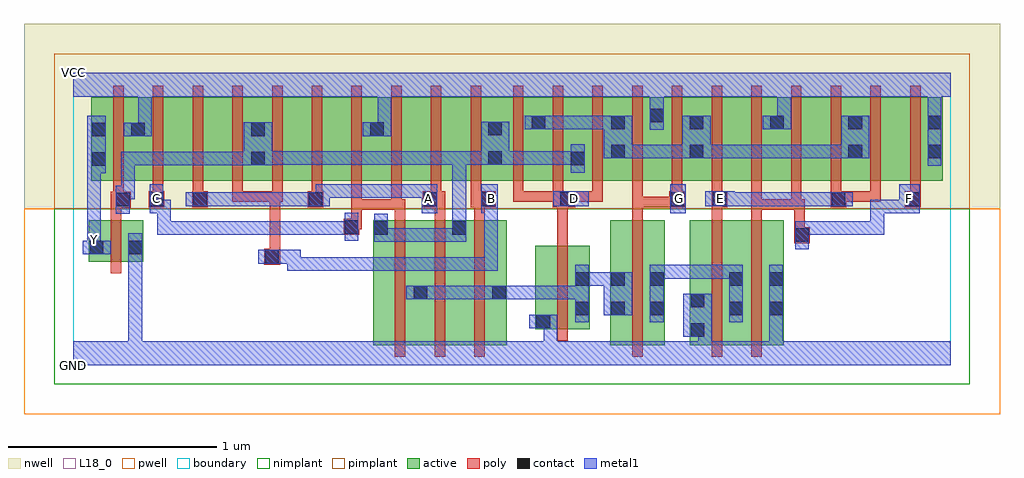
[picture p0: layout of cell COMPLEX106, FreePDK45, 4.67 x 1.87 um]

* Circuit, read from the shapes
.subckt COMPLEX106 A B C D E F G GND VCC Y
M1 GND n1 Y VSUBS nfet w=0.2u l=0.05u
M2 n2 C n1 VSUBS nfet w=0.6u l=0.05u
M3 n1 A n2 VSUBS nfet w=0.6u l=0.05u
M4 n2 B n1 VSUBS nfet w=0.6u l=0.05u
M5 n2 D GND VSUBS nfet w=0.4u l=0.05u
M6 n3 G n2 VSUBS nfet w=0.6u l=0.05u
M7 n3 E GND VSUBS nfet w=0.6u l=0.05u
M8 GND F n3 VSUBS nfet w=0.6u l=0.05u
M9 VCC n1 Y n4 pfet w=0.4u l=0.05u
M10 n5 C VCC n4 pfet w=0.4u l=0.05u
M11 n6 A n5 n4 pfet w=0.4u l=0.05u
M12 n1 B n6 n4 pfet w=0.4u l=0.05u
M13 n7 B n1 n4 pfet w=0.4u l=0.05u
M14 n8 A n7 n4 pfet w=0.4u l=0.05u
M15 VCC C n8 n4 pfet w=0.4u l=0.05u
M16 n9 C VCC n4 pfet w=0.4u l=0.05u
M17 n10 A n9 n4 pfet w=0.4u l=0.05u
M18 n1 B n10 n4 pfet w=0.4u l=0.05u
M19 n11 D n1 n4 pfet w=0.4u l=0.05u m=3
M20 VCC G n11 n4 pfet w=0.4u l=0.05u m=2
M21 n12 E n11 n4 pfet w=0.4u l=0.05u
M22 VCC F n12 n4 pfet w=0.4u l=0.05u
M23 n13 F VCC n4 pfet w=0.4u l=0.05u
M24 n11 E n13 n4 pfet w=0.4u l=0.05u
M25 n14 E n11 n4 pfet w=0.4u l=0.05u
M26 VCC F n14 n4 pfet w=0.4u l=0.05u
.ends

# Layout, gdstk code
import gdstk
lib = gdstk.Library(unit=1e-6, precision=1e-09)
def R(c, l, rs):  # rectangles x0, y0, x1, y1
    for r in rs: c.add(gdstk.rectangle(r[:2], r[2:], *l))
def A(c, l, x, y, w, h, nx, ny, dx, dy):  # array of equal rectangles
    R(c, l, [(x+i*dx, y+j*dy, x+i*dx+w, y+j*dy+h) for i in range(nx) for j in range(ny)])
active = (1, 0)
pwell = (2, 0)
nwell = (3, 0)
nimplant = (4, 0)
pimplant = (5, 0)
poly = (9, 0)
contact = (10, 0)
metal1 = (11, 0)
L18_0 = (18, 0)
boundary = (235, 0)

complex106 = lib.new_cell('COMPLEX106')
A(complex106, active, 0.502, 0.882, 0.19, 0.4, 3, 1, 0.57, 0)
R(complex106, active, [(1.435,0.095,1.51,0.695), (1.435,0.095,1.7,0.695), (1.625,0.095,1.885,0.695), (1.625,0.095,1.7,0.647), (1.81,0.095,1.885,0.695), (1.81,0.095,2.075,0.695), (2,0.095,2.075,0.695), (2.57,0.095,2.645,0.695), (2.57,0.095,2.83,0.695), (2.755,0.095,2.83,0.695), (2.95,0.095,3.025,0.695), (2.95,0.095,3.21,0.695), (3.135,0.095,3.4,0.695), (3.135,0.095,3.21,0.692), (3.325,0.095,3.4,0.695), (2.212,0.172,2.472,0.572), (2.212,0.172,2.287,0.492), (2.397,0.2,2.472,0.572), (0.075,0.495,0.15,0.695), (0.075,0.495,0.335,0.695), (0.26,0.495,0.335,0.695), (0.087,0.882,0.347,1.282), (0.087,0.882,0.162,1.2), (0.272,0.882,0.502,1.282), (0.692,0.882,0.922,1.282), (0.847,0.882,1.072,1.282), (1.262,0.882,1.492,1.282), (1.417,0.882,1.642,1.282), (1.832,0.882,2.057,1.282), (1.982,0.882,2.265,1.282), (2.19,0.882,2.452,1.282), (2.377,0.882,2.645,1.282), (2.57,0.882,2.83,1.282), (2.755,0.882,3.02,1.282), (2.945,0.882,3.175,1.282), (3.175,0.882,3.405,1.282), (3.33,0.882,3.555,1.282), (3.555,0.882,3.78,1.282), (3.705,0.882,3.935,1.282), (3.935,0.882,4.16,1.282), (4.085,0.882,4.16,1.205), (0.272,0.907,0.347,1.205), (0.847,0.907,0.922,1.2), (1.417,0.907,1.492,1.242), (1.982,0.907,2.057,1.2), (2.19,0.907,2.265,1.2), (2.377,0.907,2.452,1.07), (2.57,0.907,2.645,1.2), (2.755,0.907,2.83,1.242), (2.945,0.907,3.02,1.2), (3.33,0.907,3.405,1.242), (3.705,0.907,3.78,1.2)])
R(complex106, pwell, [(-0.235,-0.235,4.435,0.75)])
R(complex106, nwell, [(-0.235,0.75,4.435,1.635)])
R(complex106, nimplant, [(-0.09,-0.09,4.29,0.75)])
R(complex106, pimplant, [(-0.09,0.75,4.29,1.49)])
A(complex106, poly, 1.54, 0.04, 0.05, 0.71, 3, 1, 0.19, 0)
A(complex106, poly, 0.382, 0.782, 0.05, 0.095, 5, 1, 0.19, 0)
A(complex106, poly, 2.105, 0.782, 0.05, 0.095, 3, 1, 0.19, 0)
A(complex106, poly, 3.625, 0.782, 0.05, 0.095, 3, 1, 0.19, 0)
A(complex106, poly, 0.192, 0.827, 0.05, 0.51, 10, 1, 0.19, 0)
A(complex106, poly, 2.105, 0.827, 0.05, 0.51, 11, 1, 0.19, 0)
R(complex106, poly, [(2.675,0.04,2.725,0.75), (3.055,0.04,3.105,0.75), (3.245,0.04,3.295,0.75), (2.317,0.117,2.367,0.627), (0.18,0.44,0.23,0.75), (0.915,0.482,0.99,0.557), (0.94,0.507,0.99,0.832), (2.317,0.577,2.367,0.807), (3.45,0.585,3.525,0.66), (3.45,0.61,3.5,0.66), (3.45,0.61,3.5,0.66), (3.45,0.61,3.5,0.795), (1.295,0.625,1.37,0.7), (1.32,0.65,1.37,0.7), (1.32,0.65,1.382,0.7), (1.332,0.65,1.382,0.795), (0.18,0.7,0.23,0.805), (1.54,0.7,1.59,0.795), (1.73,0.7,1.78,0.807), (1.92,0.7,1.97,0.807), (2.675,0.7,2.725,0.807), (3.055,0.7,3.105,0.807), (3.245,0.7,3.295,0.795), (1.332,0.745,1.382,0.795), (1.332,0.745,1.382,0.877), (1.332,0.745,1.572,0.795), (1.522,0.745,1.572,0.795), (1.522,0.745,1.572,0.795), (1.522,0.745,1.572,0.877), (1.522,0.745,1.59,0.795), (3.245,0.745,3.295,0.795), (3.245,0.745,3.295,0.877), (3.245,0.745,3.485,0.795), (3.435,0.745,3.485,0.795), (3.435,0.745,3.485,0.795), (3.435,0.745,3.485,0.877), (3.435,0.745,3.5,0.795), (0.18,0.755,0.275,0.83), (0.362,0.757,0.437,0.832), (0.57,0.757,0.645,0.832), (1.122,0.757,1.197,0.832), (1.672,0.757,1.78,0.832), (1.902,0.757,2.022,0.832), (2.295,0.757,2.402,0.832), (2.675,0.757,2.725,0.807), (2.675,0.757,2.902,0.807), (2.675,0.757,2.725,0.877), (2.852,0.757,2.927,0.832), (2.852,0.757,2.902,0.807), (2.852,0.757,2.902,0.807), (3.055,0.757,3.13,0.832), (3.625,0.757,3.7,0.832), (3.98,0.757,4.055,0.832), (0.192,0.78,0.242,0.877), (0.762,0.782,0.812,0.832), (0.762,0.782,0.812,0.832), (0.762,0.782,0.812,0.832), (0.762,0.782,0.99,0.832), (0.94,0.782,0.99,0.832), (0.94,0.782,0.99,0.832), (0.94,0.782,1.002,0.832), (1.712,0.782,1.762,0.877), (1.902,0.782,1.952,0.877), (2.105,0.782,2.155,0.832), (2.105,0.782,2.155,0.832), (2.105,0.782,2.155,0.832), (2.105,0.782,2.345,0.832), (2.352,0.782,2.402,0.832), (2.352,0.782,2.402,0.832), (2.352,0.782,2.535,0.832), (2.485,0.782,2.535,0.832), (2.865,0.782,2.915,0.877), (3.055,0.782,3.105,0.877), (3.65,0.782,3.865,0.832), (3.65,0.782,3.7,0.832), (3.65,0.782,3.7,0.832), (3.815,0.782,3.865,0.832)])
R(complex106, contact, [(2.955,0.137,3.02,0.202), (2.217,0.177,2.282,0.242), (2.402,0.24,2.467,0.305), (2.575,0.24,2.64,0.305), (2.76,0.24,2.825,0.305), (3.14,0.24,3.205,0.305), (3.33,0.24,3.395,0.305), (2.955,0.277,3.02,0.342), (1.63,0.315,1.695,0.38), (2.005,0.315,2.07,0.38), (2.402,0.38,2.467,0.445), (2.575,0.38,2.64,0.445), (2.76,0.38,2.825,0.445), (3.14,0.38,3.205,0.445), (3.33,0.38,3.395,0.445), (0.92,0.487,0.985,0.552), (0.08,0.532,0.145,0.597), (0.265,0.532,0.33,0.597), (3.455,0.59,3.52,0.655), (1.44,0.625,1.505,0.69), (1.815,0.625,1.88,0.69), (1.3,0.63,1.365,0.695), (0.205,0.76,0.27,0.825), (0.367,0.762,0.432,0.827), (0.575,0.762,0.64,0.827), (1.127,0.762,1.192,0.827), (1.677,0.762,1.742,0.827), (1.952,0.762,2.017,0.827), (2.332,0.762,2.397,0.827), (2.857,0.762,2.922,0.827), (3.06,0.762,3.125,0.827), (3.63,0.762,3.695,0.827), (3.985,0.762,4.05,0.827), (0.092,0.955,0.157,1.02), (0.852,0.957,0.917,1.022), (2.382,0.957,2.447,1.022), (1.987,0.96,2.052,1.025), (2.575,0.99,2.64,1.055), (2.95,0.99,3.015,1.055), (3.71,0.99,3.775,1.055), (4.09,0.99,4.155,1.055), (0.092,1.095,0.157,1.16), (0.277,1.095,0.342,1.16), (0.852,1.097,0.917,1.162), (1.422,1.097,1.487,1.162), (1.987,1.1,2.052,1.165), (2.195,1.13,2.26,1.195), (2.575,1.13,2.64,1.195), (2.95,1.13,3.015,1.195), (3.335,1.13,3.4,1.195), (3.71,1.13,3.775,1.195), (4.09,1.13,4.155,1.195), (2.76,1.162,2.825,1.227)])
R(complex106, metal1, [(0,0,4.2,0.115), (0.265,0.05,0.33,0.115), (0.265,0.05,0.33,0.115), (0.265,0.05,0.33,0.115), (0.265,0.05,0.33,0.115), (0.265,0.05,0.33,0.115), (0.265,0.05,0.33,0.115), (0.265,0.05,0.33,0.562), (2.252,0.05,2.317,0.115), (2.252,0.05,2.317,0.115), (2.252,0.05,2.317,0.242), (2.99,0.05,3.055,0.202), (3.33,0.05,3.395,0.27), (2.92,0.137,3.055,0.342), (2.182,0.177,2.317,0.242), (2.402,0.205,2.467,0.48), (2.76,0.205,2.825,0.48), (3.14,0.205,3.205,0.48), (3.33,0.205,3.395,0.48), (2.54,0.24,2.675,0.445), (1.595,0.315,1.73,0.38), (1.665,0.315,1.73,0.38), (1.665,0.315,1.73,0.38), (1.665,0.315,1.88,0.38), (1.815,0.315,1.88,0.38), (1.815,0.315,2.035,0.38), (1.97,0.315,2.035,0.38), (1.97,0.315,2.035,0.38), (1.97,0.315,2.105,0.38), (2.022,0.315,2.087,0.38), (2.022,0.315,2.087,0.38), (2.022,0.315,2.172,0.38), (2.107,0.315,2.172,0.38), (2.107,0.315,2.31,0.38), (2.245,0.315,2.31,0.38), (2.245,0.315,2.31,0.38), (2.245,0.315,2.31,0.38), (2.245,0.315,2.31,0.38), (2.245,0.315,2.31,0.38), (2.245,0.315,2.31,0.38), (2.245,0.315,2.31,0.38), (2.245,0.315,2.467,0.38), (2.402,0.38,2.467,0.445), (2.402,0.38,2.467,0.445), (2.402,0.38,2.605,0.445), (2.76,0.415,2.825,0.48), (2.76,0.415,2.825,0.48), (2.76,0.415,2.962,0.48), (2.897,0.415,2.962,0.48), (2.897,0.415,2.962,0.48), (2.897,0.415,2.962,0.48), (2.897,0.415,3.205,0.48), (1.025,0.452,1.09,0.517), (1.025,0.452,1.227,0.517), (1.025,0.452,1.09,0.552), (1.162,0.452,1.227,0.517), (1.162,0.452,1.227,0.517), (1.162,0.452,1.227,0.517), (1.162,0.452,1.365,0.517), (1.3,0.452,1.365,0.517), (1.3,0.452,1.365,0.517), (1.3,0.452,1.365,0.517), (1.3,0.452,1.522,0.517), (1.457,0.452,1.522,0.517), (1.457,0.452,1.742,0.517), (1.677,0.452,1.742,0.517), (1.677,0.452,1.742,0.517), (1.677,0.452,1.742,0.517), (1.677,0.452,1.88,0.517), (1.815,0.452,1.88,0.517), (1.815,0.452,1.88,0.517), (1.815,0.452,1.88,0.517), (1.815,0.452,1.88,0.517), (1.815,0.452,1.88,0.517), (1.815,0.452,2.032,0.517), (1.967,0.452,2.032,0.517), (1.967,0.452,2.032,0.517), (1.967,0.452,2.032,0.517), (1.967,0.452,2.032,0.792), (0.885,0.487,1.02,0.552), (0.955,0.487,1.09,0.552), (1.025,0.487,1.09,0.552), (0.265,0.497,0.33,0.632), (0.045,0.532,0.18,0.597), (0.067,0.532,0.132,0.597), (0.067,0.532,0.132,0.667), (3.455,0.555,3.52,0.69), (1.44,0.59,1.505,0.725), (1.44,0.59,1.522,0.655), (1.457,0.59,1.522,0.655), (1.457,0.59,1.73,0.655), (1.665,0.59,1.73,0.655), (1.665,0.59,1.73,0.655), (1.665,0.59,1.73,0.655), (1.665,0.59,1.88,0.655), (1.815,0.59,1.88,0.725), (1.3,0.595,1.365,0.73), (0.067,0.602,0.132,0.985), (0.402,0.625,0.467,0.69), (0.402,0.625,0.467,0.792), (0.402,0.625,0.675,0.69), (0.61,0.625,0.675,0.69), (0.61,0.625,0.675,0.69), (0.61,0.625,0.675,0.69), (0.61,0.625,0.812,0.69), (0.747,0.625,0.812,0.69), (0.747,0.625,0.952,0.69), (0.887,0.625,0.952,0.69), (0.887,0.625,0.952,0.69), (0.887,0.625,0.952,0.69), (0.887,0.625,1.09,0.69), (1.025,0.625,1.09,0.69), (1.025,0.625,1.227,0.69), (1.162,0.625,1.227,0.69), (1.162,0.625,1.227,0.69), (1.162,0.625,1.227,0.69), (1.162,0.625,1.227,0.69), (1.162,0.625,1.227,0.69), (1.162,0.625,1.365,0.69), (3.455,0.625,3.52,0.69), (3.455,0.625,3.52,0.69), (3.455,0.625,3.52,0.69), (3.455,0.625,3.52,0.69), (3.455,0.625,3.742,0.69), (3.677,0.625,3.742,0.69), (3.677,0.625,3.88,0.69), (3.815,0.625,3.88,0.69), (3.815,0.625,3.88,0.792), (1.815,0.66,1.88,0.755), (1.815,0.69,1.88,0.755), (1.815,0.69,1.88,1.025), (0.205,0.725,0.27,0.86), (0.367,0.727,0.467,0.792), (0.367,0.727,0.432,0.867), (0.402,0.727,0.467,0.792), (1.667,0.727,1.742,0.867), (1.952,0.727,2.032,0.867), (1.967,0.727,2.032,0.792), (1.967,0.727,2.032,0.792), (2.857,0.727,2.932,0.867), (3.815,0.727,3.88,0.792), (3.815,0.727,3.88,0.792), (3.815,0.727,3.88,0.792), (3.815,0.727,4.017,0.792), (3.952,0.727,4.017,0.792), (3.952,0.727,4.017,0.792), (3.952,0.727,4.05,0.867), (0.54,0.762,0.675,0.827), (0.61,0.762,0.675,0.827), (0.61,0.762,0.675,0.827), (0.61,0.762,0.812,0.827), (0.747,0.762,0.812,0.827), (0.747,0.762,0.952,0.827), (0.887,0.762,0.952,0.827), (0.887,0.762,0.952,0.827), (0.887,0.762,0.952,0.827), (0.887,0.762,1.09,0.827), (1.025,0.762,1.09,0.827), (1.025,0.762,1.157,0.827), (1.092,0.762,1.227,0.827), (1.162,0.762,1.227,0.827), (1.162,0.762,1.227,0.867), (2.297,0.762,2.467,0.832), (3.025,0.762,3.167,0.832), (3.102,0.762,3.227,0.827), (3.162,0.762,3.227,0.827), (3.162,0.762,3.365,0.827), (3.3,0.762,3.365,0.827), (3.3,0.762,3.365,0.827), (3.3,0.762,3.365,0.827), (3.3,0.762,3.522,0.827), (3.457,0.762,3.522,0.827), (3.457,0.762,3.522,0.827), (3.457,0.762,3.522,0.827), (3.457,0.762,3.66,0.827), (3.595,0.762,3.73,0.827), (0.205,0.795,0.295,0.86), (0.23,0.795,0.295,0.86), (0.23,0.795,0.295,1.022), (1.162,0.802,1.365,0.867), (1.3,0.802,1.365,0.867), (1.3,0.802,1.365,0.867), (1.3,0.802,1.365,0.867), (1.3,0.802,1.522,0.867), (1.457,0.802,1.522,0.867), (1.457,0.802,1.732,0.867), (1.667,0.802,1.732,0.867), (1.667,0.802,1.732,0.867), (0.067,0.92,0.157,1.195), (2.382,0.922,2.447,1.057), (4.09,0.955,4.155,1.23), (0.23,0.957,0.295,1.022), (0.23,0.957,0.467,1.022), (0.402,0.957,0.467,1.022), (0.402,0.957,0.467,1.022), (0.402,0.957,0.467,1.022), (0.402,0.957,0.675,1.022), (0.61,0.957,0.675,1.022), (0.61,0.957,0.675,1.022), (0.61,0.957,0.675,1.022), (0.61,0.957,0.812,1.022), (0.747,0.957,0.812,1.022), (0.747,0.957,0.882,1.022), (0.817,0.957,0.952,1.162), (0.887,0.96,0.952,1.025), (0.887,0.96,0.952,1.025), (0.887,0.96,1.09,1.025), (1.025,0.96,1.09,1.025), (1.025,0.96,1.227,1.025), (1.162,0.96,1.227,1.025), (1.162,0.96,1.227,1.025), (1.162,0.96,1.227,1.025), (1.162,0.96,1.385,1.025), (1.32,0.96,1.385,1.025), (1.32,0.96,1.385,1.025), (1.32,0.96,1.385,1.025), (1.32,0.96,1.592,1.025), (1.527,0.96,1.592,1.025), (1.527,0.96,1.742,1.025), (1.677,0.96,1.742,1.025), (1.677,0.96,1.742,1.025), (1.677,0.96,1.742,1.025), (1.677,0.96,1.88,1.025), (1.815,0.96,1.88,1.025), (1.815,0.96,1.88,1.025), (1.815,0.96,1.88,1.025), (1.815,0.96,2.017,1.025), (1.952,0.96,2.087,1.165), (2.022,0.96,2.172,1.025), (2.107,0.96,2.172,1.025), (2.107,0.96,2.225,1.025), (2.16,0.96,2.225,1.025), (2.16,0.96,2.33,1.025), (2.265,0.96,2.33,1.025), (2.265,0.96,2.447,1.025), (2.54,0.99,2.675,1.195), (2.61,0.99,2.675,1.055), (2.61,0.99,2.675,1.055), (2.61,0.99,2.675,1.055), (2.61,0.99,2.675,1.055), (2.61,0.99,2.812,1.055), (2.747,0.99,2.812,1.055), (2.747,0.99,2.812,1.055), (2.747,0.99,2.812,1.055), (2.747,0.99,2.98,1.055), (2.915,0.99,3.05,1.195), (2.985,0.99,3.227,1.055), (3.162,0.99,3.227,1.055), (3.162,0.99,3.227,1.055), (3.162,0.99,3.227,1.055), (3.162,0.99,3.365,1.055), (3.3,0.99,3.365,1.055), (3.3,0.99,3.365,1.055), (3.3,0.99,3.365,1.055), (3.3,0.99,3.522,1.055), (3.457,0.99,3.522,1.055), (3.457,0.99,3.522,1.055), (3.457,0.99,3.522,1.055), (3.457,0.99,3.74,1.055), (3.675,0.99,3.74,1.055), (3.675,0.99,3.74,1.055), (3.675,0.99,3.81,1.195), (0.242,1.095,0.377,1.16), (0.312,1.095,0.377,1.35), (1.387,1.097,1.522,1.162), (1.457,1.097,1.522,1.35), (2.76,1.127,2.825,1.262), (2.16,1.13,2.295,1.195), (2.23,1.13,2.33,1.195), (2.265,1.13,2.33,1.195), (2.265,1.13,2.467,1.195), (2.402,1.13,2.467,1.195), (2.402,1.13,2.467,1.195), (2.402,1.13,2.467,1.195), (2.402,1.13,2.605,1.195), (3.3,1.13,3.435,1.195), (3.37,1.13,3.435,1.35), (4.09,1.165,4.155,1.35), (2.76,1.197,2.825,1.35), (0,1.285,4.2,1.4)])
R(complex106, L18_0, [(0,0,4.2,0.115), (0.265,0.05,0.33,0.115), (0.265,0.05,0.33,0.115), (0.265,0.05,0.33,0.115), (0.265,0.05,0.33,0.115), (0.265,0.05,0.33,0.115), (0.265,0.05,0.33,0.115), (0.265,0.05,0.33,0.562), (2.252,0.05,2.317,0.115), (2.252,0.05,2.317,0.115), (2.252,0.05,2.317,0.242), (2.99,0.05,3.055,0.202), (3.33,0.05,3.395,0.27), (2.92,0.137,3.055,0.342), (2.182,0.177,2.317,0.242), (3.33,0.205,3.395,0.48), (1.025,0.452,1.09,0.517), (1.025,0.452,1.227,0.517), (1.025,0.452,1.09,0.552), (1.162,0.452,1.227,0.517), (1.162,0.452,1.227,0.517), (1.162,0.452,1.227,0.517), (1.162,0.452,1.365,0.517), (1.3,0.452,1.365,0.517), (1.3,0.452,1.365,0.517), (1.3,0.452,1.365,0.517), (1.3,0.452,1.522,0.517), (1.457,0.452,1.522,0.517), (1.457,0.452,1.742,0.517), (1.677,0.452,1.742,0.517), (1.677,0.452,1.742,0.517), (1.677,0.452,1.742,0.517), (1.677,0.452,1.88,0.517), (1.815,0.452,1.88,0.517), (1.815,0.452,1.88,0.517), (1.815,0.452,1.88,0.517), (1.815,0.452,1.88,0.517), (1.815,0.452,1.88,0.517), (1.815,0.452,2.032,0.517), (1.967,0.452,2.032,0.517), (1.967,0.452,2.032,0.517), (1.967,0.452,2.032,0.517), (1.967,0.452,2.032,0.792), (0.885,0.487,1.02,0.552), (0.955,0.487,1.09,0.552), (1.025,0.487,1.09,0.552), (0.265,0.497,0.33,0.632), (0.045,0.532,0.18,0.597), (0.067,0.532,0.132,0.667), (0.067,0.532,0.132,0.597), (3.455,0.555,3.52,0.69), (0.067,0.567,0.132,0.632), (1.3,0.595,1.365,0.73), (0.067,0.602,0.132,0.985), (0.402,0.625,0.467,0.69), (0.402,0.625,0.467,0.792), (0.402,0.625,0.675,0.69), (0.61,0.625,0.675,0.69), (0.61,0.625,0.675,0.69), (0.61,0.625,0.675,0.69), (0.61,0.625,0.812,0.69), (0.747,0.625,0.812,0.69), (0.747,0.625,0.952,0.69), (0.887,0.625,0.952,0.69), (0.887,0.625,0.952,0.69), (0.887,0.625,0.952,0.69), (0.887,0.625,1.09,0.69), (1.025,0.625,1.09,0.69), (1.025,0.625,1.227,0.69), (1.162,0.625,1.227,0.69), (1.162,0.625,1.227,0.69), (1.162,0.625,1.227,0.69), (1.162,0.625,1.227,0.69), (1.162,0.625,1.227,0.69), (1.162,0.625,1.365,0.69), (3.455,0.625,3.52,0.69), (3.455,0.625,3.52,0.69), (3.455,0.625,3.52,0.69), (3.455,0.625,3.52,0.69), (3.455,0.625,3.742,0.69), (3.677,0.625,3.742,0.69), (3.677,0.625,3.88,0.69), (3.815,0.625,3.88,0.69), (3.815,0.625,3.88,0.792), (0.367,0.727,0.432,0.867), (0.367,0.727,0.467,0.792), (0.402,0.727,0.467,0.792), (1.667,0.727,1.742,0.867), (1.952,0.727,2.032,0.867), (1.967,0.727,2.032,0.792), (1.967,0.727,2.032,0.792), (2.857,0.727,2.932,0.867), (3.815,0.727,3.88,0.792), (3.815,0.727,3.88,0.792), (3.815,0.727,3.88,0.792), (3.815,0.727,4.017,0.792), (3.952,0.727,4.017,0.792), (3.952,0.727,4.017,0.792), (3.952,0.727,4.05,0.867), (0.54,0.762,0.675,0.827), (0.61,0.762,0.675,0.827), (0.61,0.762,0.675,0.827), (0.61,0.762,0.812,0.827), (0.747,0.762,0.812,0.827), (0.747,0.762,0.952,0.827), (0.887,0.762,0.952,0.827), (0.887,0.762,0.952,0.827), (0.887,0.762,0.952,0.827), (0.887,0.762,1.09,0.827), (1.025,0.762,1.09,0.827), (1.025,0.762,1.157,0.827), (1.092,0.762,1.227,0.827), (1.162,0.762,1.227,0.827), (1.162,0.762,1.227,0.867), (2.297,0.762,2.467,0.832), (3.025,0.762,3.167,0.832), (3.102,0.762,3.227,0.827), (3.162,0.762,3.227,0.827), (3.162,0.762,3.365,0.827), (3.3,0.762,3.365,0.827), (3.3,0.762,3.365,0.827), (3.3,0.762,3.365,0.827), (3.3,0.762,3.522,0.827), (3.457,0.762,3.522,0.827), (3.457,0.762,3.522,0.827), (3.457,0.762,3.522,0.827), (3.457,0.762,3.66,0.827), (3.595,0.762,3.73,0.827), (0.367,0.767,0.432,0.832), (1.667,0.767,1.732,0.832), (1.967,0.767,2.032,0.832), (2.367,0.767,2.432,0.832), (2.867,0.767,2.932,0.832), (3.067,0.767,3.132,0.832), (3.967,0.767,4.032,0.832), (1.162,0.802,1.365,0.867), (1.3,0.802,1.365,0.867), (1.3,0.802,1.365,0.867), (1.3,0.802,1.365,0.867), (1.3,0.802,1.522,0.867), (1.457,0.802,1.522,0.867), (1.457,0.802,1.732,0.867), (1.667,0.802,1.732,0.867), (1.667,0.802,1.732,0.867), (0.067,0.92,0.157,1.195), (4.09,0.955,4.155,1.23), (0.242,1.095,0.377,1.16), (0.312,1.095,0.377,1.35), (1.387,1.097,1.522,1.162), (1.457,1.097,1.522,1.35), (2.76,1.127,2.825,1.262), (3.3,1.13,3.435,1.195), (3.37,1.13,3.435,1.35), (4.09,1.165,4.155,1.35), (2.76,1.197,2.825,1.35), (0,1.285,4.2,1.4)])
R(complex106, boundary, [(0,0,4.2,1.4)])
complex106.add(gdstk.Label('A', (1.7,0.8), layer=11, texttype=0))
complex106.add(gdstk.Label('B', (2,0.8), layer=11, texttype=0))
complex106.add(gdstk.Label('C', (0.4,0.8), layer=11, texttype=0))
complex106.add(gdstk.Label('D', (2.4,0.8), layer=11, texttype=0))
complex106.add(gdstk.Label('E', (3.1,0.8), layer=11, texttype=0))
complex106.add(gdstk.Label('F', (4,0.8), layer=11, texttype=0))
complex106.add(gdstk.Label('G', (2.9,0.8), layer=11, texttype=0))
complex106.add(gdstk.Label('Y', (0.1,0.6), layer=11, texttype=0))
complex106.add(gdstk.Label('VCC', (0,1.4), layer=11, texttype=0))
complex106.add(gdstk.Label('GND', (0,0), layer=11, texttype=0))

lib.write_gds('COMPLEX106.gds')
